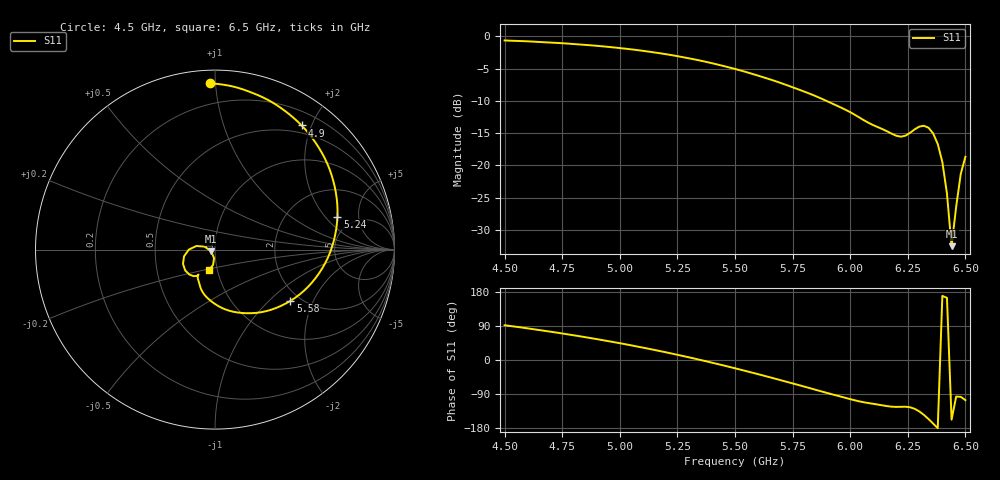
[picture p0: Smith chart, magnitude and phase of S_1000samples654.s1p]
! TOUCHSTONE file generated by CST MICROWAVE STUDIO
! Date and time: Fri Oct 28 22:18:52 2022
! Project name: L.cst
! Parameters = {Di=1.27; Epsilon_r=1.56; InnerDiameter=1.27; Length=2; Lf=10; Lg=60; OuterConductorThickness=0.2921; OuterDiameter=3.6; Wf=3; Wp=41.2; de=1.5; df=6.8; g=0.8; gx=4.34315; gy=3.88228; h=2.34; hf=1.524; px=14.7894; py=10.0736; w=9.7; wx=10.4462; wy=6.19133}
! Header version: 2018
! Port assignment regex: !\s*Touchstone port\s*([0-9]+)\s*=\s*(CST MWS port|CST DS port)\s*([0-9]+|Zmin|Zmax)\s*\(\"(.*)\"\)(\s*mode\s*([0-9]+))?.*
! Touchstone port assignment:
! Touchstone port 1 = CST MWS port 1 ("")
# GHz S DB R 50
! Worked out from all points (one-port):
!   101 points, 4.5 GHz to 6.5 GHz, reference 50 ohm
!   lowest |S11| = -32.5 dB at 6.44 GHz (marker M1), VSWR 1.05, Z = 47.9 - j0.868 ohm
!   |S11| at or under -10 dB: 5.896 GHz to end of sweep
!   S11 on the Smith chart (normalised r, x): 4.5 GHz: 0.07, +0.97; 4.9 GHz: 0.39, +1.85; 5.24 GHz: 3.72, +2.72; 5.58 GHz: 1.77, -1.37; 6.5 GHz: 0.92, -0.21
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4.5  -0.65 91.7
4.62  -0.82 81.7
4.76  -1.10 69.0
4.9  -1.48 55.1
5  -1.83 44.3
5.12  -2.35 30.3
5.24  -3.02 15.1
5.26  -3.15 12.4
5.38  -4.01 -4.2
5.5  -5.07 -21.8
5.58  -5.88 -34.3
5.68  -7.01 -50.3
5.76  -8.04 -63.4
5.88  -9.75 -83.7
6  -11.77 -103.3
6.2  -15.43 -123.8
6.22  -15.57 -123.5
6.26  -14.97 -124.8
6.32  -13.87 -144.9
6.34  -14.18 -155.8
6.36  -15.06 -167.8
6.38  -16.71 -179.9
6.4  -19.50 169.1
6.42  -24.39 164.0
6.44  -32.54 -157.4
6.46  -26.42 -96.4
6.48  -21.31 -97.2
6.5  -18.69 -105.9
